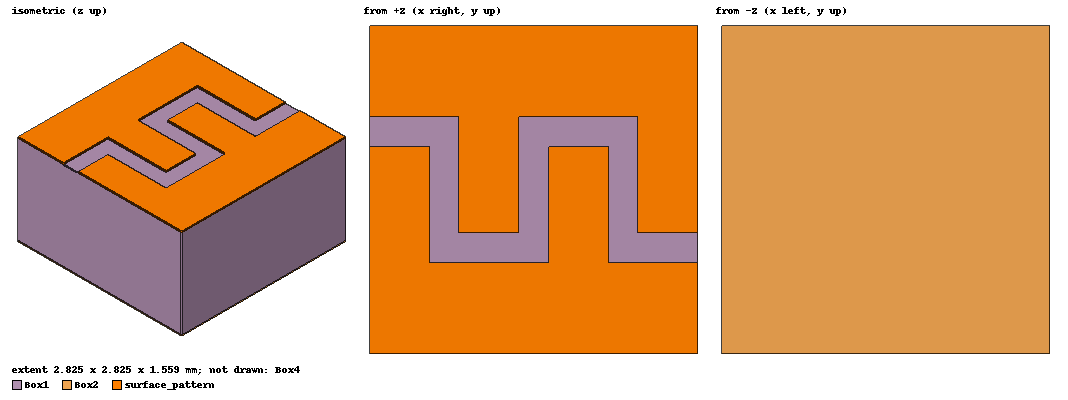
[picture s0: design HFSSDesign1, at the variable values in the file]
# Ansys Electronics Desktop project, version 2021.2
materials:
  vacuum: permittivity=1
  Arlon AD600 (tm): permittivity=6.15
  copper: permeability=0.999991 conductivity=58000000
  pec: conductivity=1e+30

design HFSSDesign1 (HFSS, DrivenModal, model units mm)
options: Allow_Material_Override
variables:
  length = 10mm
  depth = 1.524mm
  a = 28.25mm
  copp_t = 17.5um
  gap = 500um
  rad_bound = 20mm+depth+copp_t
  deembed = rad_bound-(depth+copp_t)
  mt = 10mil
  finger_depth = 1mm
  finger_width = 515.75um
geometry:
  Box1 [Arlon AD600 (tm)] = box(corner=(-a/20, -a/20, copp_t), size=(a/10, a/10, depth))
  Box2 [pec] = box(corner=(-a/20, -a/20, 0), size=(a/10, a/10, copp_t))
  top_sheet = box(corner=(-a/20, -a/20, copp_t+depth), size=(a/10, a/10, copp_t))
  Box3 = box(corner=(-a/20, -(finger_depth+mt)/2, depth+copp_t), size=(a/10, finger_depth+mt, copp_t))
  top_sheet.subtract(Box3)
  Box4 [vacuum] = box(corner=(-a/20, -a/20, 0mm), size=(a/10, a/10, rad_bound))
  Box5 = box(corner=(-a/20, -(finger_depth+mt)/2, depth+copp_t), size=(finger_width, finger_depth, copp_t))
  Box6 = box(corner=((-a/20+finger_width+mt), -(finger_depth-mt)/2, depth+copp_t), size=(finger_width, finger_depth, copp_t))
  Box5.unite(Box6)
  surface_pattern [pec] = Box5.duplicate_along_line(step=((finger_width+mt)*2, 0mm, 0mm), total=2)
  surface_pattern.unite(Box5)
  surface_pattern.unite(top_sheet)
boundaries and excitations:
  PMC: Perfect H Faces=Box4.face(+x, -x)
  PEC: Perfect E Faces=Box4.face(+y, -y)
  1: Wave Port Faces=Box4.face(+z) NumModes=1 Modes{Mode1{IntLine{middle of Box4.edge(4 of 12) -> middle of Box4.edge(2 of 12)} CharImp=Zwave}}
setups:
  Setup1: HfssDriven Frequency=10GHz MaxDeltaS=0.005 MaximumPasses=20 MinimumPasses=4 MinimumConvergedPasses=2 PercentRefinement=20 BasisOrder=-1 PortAccuracy=2
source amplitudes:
  1:1: 1W 0deg
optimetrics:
  ParametricSetup1: Parametric Sim._Setups=[Setup1]
    sweep finger_depth: LIN 0.05mm 2mm 0.05mm
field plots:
  Mag_E1, Vector_E1: E Field in Box4 on Setup1 : LastAdaptive at Freq=10GHz Phase=0deg
  Mag_E2: E Field over Box4.face(+x) on Setup1 : LastAdaptive at Freq=10GHz Phase=0deg
  Vector_H1: H Field in Box4 on Setup1 : LastAdaptive at Freq=10GHz Phase=0deg
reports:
  Z Parameter Plot 1: re(Z(1,1)), im(Z(1,1)) vs Freq on Setup1 : LastAdaptive; markers m1 at 10GHz, m2 at 10GHz
  S Parameter Plot 1: re(S(1,1)), im(S(1,1)) vs Freq on Setup1 : LastAdaptive; markers m1 at 10GHz
  S Parameter Plot 2: re(S(1,1)), im(S(1,1)) vs Freq on Setup1 : LastAdaptive; markers m1 at 10GHz, m2 at 10GHz

design HFSSDesign2 (HFSS, DrivenModal, model units mm)
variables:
  a = 28.25mm
  antenna_width = 2*finger_width*num_fingers + 2*mt*(num_fingers-1)+mt
  copp_t = 17.5um
  depth = 1.524mm
  mt = 10mil
  num_cells = 8
  finger_width = 515.75um
  num_fingers = 19
  finger_depth1 = 2mm
  finger_depth2 = 1.5mm
  finger_depth3 = 1mm
  finger_depth4 = 0.5mm
  finger_depth5 = 0.05mm
  finger_depth6 = 2mm
  finger_depth7 = 0.5mm
  finger_depth8 = 1mm
  finger_depth9 = 1.5mm
  finger_depth10 = 2mm
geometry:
  Ground [pec] = box(corner=(0mm, 0mm, 0mm), size=(antenna_width, num_cells*a, copp_t))
  Box2 [Arlon AD600 (tm)] = box(corner=(0mm, 0mm, copp_t), size=(antenna_width, num_cells*a, depth))
  Box3 = box(corner=(0mm, 0mm, copp_t+depth), size=(antenna_width, a/20-(mt+finger_depth1)/2, copp_t))
  Box4 = box(corner=(0mm, a/10, copp_t+depth), size=(antenna_width, -(a/20-(mt+finger_depth1)/2), copp_t))
  Unit1 [pec] = box(corner=(0mm, a/20-(mt+finger_depth1)/2, depth+copp_t), size=(finger_width, finger_depth1, copp_t))
  Box6 = box(corner=(finger_width+mt, a/20-(-mt+finger_depth1)/2, copp_t+depth), size=(finger_width, finger_depth1, copp_t))
  Unit1.unite(Box6)
  Unit1.duplicate_along_line(step=(2*(finger_width+mt), 0mm, 0mm), total=num_fingers, attached)
  Unit1.unite(Box4, Box3)
  Unit2 = box(corner=(0mm, a/20-(mt+finger_depth2)/2, depth+copp_t), size=(finger_width, finger_depth2, copp_t))
  Box9 = box(corner=(finger_width+mt, a/20-(-mt+finger_depth2)/2, copp_t+depth), size=(finger_width, finger_depth2, copp_t))
  Unit2.unite(Box9)
  Unit2.duplicate_along_line(step=(2*(finger_width+mt), 0mm, 0mm), total=num_fingers, attached)
  Box8 = box(corner=(0mm, a/10, copp_t+depth), size=(antenna_width, -(a/20-(mt+finger_depth2)/2), copp_t))
  Box7 = box(corner=(0mm, 0mm, copp_t+depth), size=(antenna_width, a/20-(mt+finger_depth2)/2, copp_t))
  Unit2.unite(Box8, Box7)
  Unit2.move(0mm, a/10, 0mm)
  Unit3 = box(corner=(0mm, a/20-(mt+finger_depth3)/2, depth+copp_t), size=(finger_width, finger_depth3, copp_t))
  Box12 = box(corner=(finger_width+mt, a/20-(-mt+finger_depth3)/2, copp_t+depth), size=(finger_width, finger_depth3, copp_t))
  Unit3.unite(Box12)
  Unit3.duplicate_along_line(step=(2*(finger_width+mt), 0mm, 0mm), total=num_fingers, attached)
  Box11 = box(corner=(0mm, a/10, copp_t+depth), size=(antenna_width, -(a/20-(mt+finger_depth3)/2), copp_t))
  Box10 = box(corner=(0mm, 0mm, copp_t+depth), size=(antenna_width, a/20-(mt+finger_depth3)/2, copp_t))
  Unit3.unite(Box11, Box10)
  Unit3.move(0mm, 2*a/10, 0mm)
  Unit4 = box(corner=(0mm, a/20-(mt+finger_depth4)/2, depth+copp_t), size=(finger_width, finger_depth4, copp_t))
  Box15 = box(corner=(finger_width+mt, a/20-(-mt+finger_depth4)/2, copp_t+depth), size=(finger_width, finger_depth4, copp_t))
  Unit4.unite(Box15)
  Unit4.duplicate_along_line(step=(2*(finger_width+mt), 0mm, 0mm), total=num_fingers, attached)
  Box14 = box(corner=(0mm, a/10, copp_t+depth), size=(antenna_width, -(a/20-(mt+finger_depth4)/2), copp_t))
  Box13 = box(corner=(0mm, 0mm, copp_t+depth), size=(antenna_width, a/20-(mt+finger_depth4)/2, copp_t))
  Unit4.unite(Box14, Box13)
  Unit4.move(0mm, 3*a/10, 0mm)
  Unit5 = box(corner=(0mm, a/20-(mt+finger_depth5)/2, depth+copp_t), size=(finger_width, finger_depth5, copp_t))
  Box18 = box(corner=(finger_width+mt, a/20-(-mt+finger_depth5)/2, copp_t+depth), size=(finger_width, finger_depth5, copp_t))
  Unit5.unite(Box18)
  Unit5.duplicate_along_line(step=(2*(finger_width+mt), 0mm, 0mm), total=num_fingers, attached)
  Box17 = box(corner=(0mm, a/10, copp_t+depth), size=(antenna_width, -(a/20-(mt+finger_depth5)/2), copp_t))
  Box16 = box(corner=(0mm, 0mm, copp_t+depth), size=(antenna_width, a/20-(mt+finger_depth5)/2, copp_t))
  Unit5.unite(Box17, Box16)
  Unit5.move(0mm, 4*a/10, 0mm)
  Unit6 = box(corner=(0mm, a/20-(mt+finger_depth6)/2, depth+copp_t), size=(finger_width, finger_depth6, copp_t))
  Box21 = box(corner=(finger_width+mt, a/20-(-mt+finger_depth6)/2, copp_t+depth), size=(finger_width, finger_depth6, copp_t))
  Unit6.unite(Box21)
  Unit6.duplicate_along_line(step=(2*(finger_width+mt), 0mm, 0mm), total=num_fingers, attached)
  Box20 = box(corner=(0mm, a/10, copp_t+depth), size=(antenna_width, -(a/20-(mt+finger_depth6)/2), copp_t))
  Box19 = box(corner=(0mm, 0mm, copp_t+depth), size=(antenna_width, a/20-(mt+finger_depth6)/2, copp_t))
  Unit6.unite(Box20, Box19)
  Unit6.move(0mm, 5*a/10, 0mm)
  Unit7 = box(corner=(0mm, a/20-(mt+finger_depth7)/2, depth+copp_t), size=(finger_width, finger_depth7, copp_t))
  Box24 = box(corner=(finger_width+mt, a/20-(-mt+finger_depth7)/2, copp_t+depth), size=(finger_width, finger_depth7, copp_t))
  Unit7.unite(Box24)
  Unit7.duplicate_along_line(step=(2*(finger_width+mt), 0mm, 0mm), total=num_fingers, attached)
  Box23 = box(corner=(0mm, a/10, copp_t+depth), size=(antenna_width, -(a/20-(mt+finger_depth7)/2), copp_t))
  Box22 = box(corner=(0mm, 0mm, copp_t+depth), size=(antenna_width, a/20-(mt+finger_depth7)/2, copp_t))
  Unit7.unite(Box23, Box22)
  Unit7.move(0mm, 6*a/10, 0mm)
  Unit8 = box(corner=(0mm, a/20-(mt+finger_depth8)/2, depth+copp_t), size=(finger_width, finger_depth8, copp_t))
  Box27 = box(corner=(finger_width+mt, a/20-(-mt+finger_depth8)/2, copp_t+depth), size=(finger_width, finger_depth8, copp_t))
  Unit8.unite(Box27)
  Unit8.duplicate_along_line(step=(2*(finger_width+mt), 0mm, 0mm), total=num_fingers, attached)
  Box26 = box(corner=(0mm, a/10, copp_t+depth), size=(antenna_width, -(a/20-(mt+finger_depth8)/2), copp_t))
  Box25 = box(corner=(0mm, 0mm, copp_t+depth), size=(antenna_width, a/20-(mt+finger_depth8)/2, copp_t))
  Unit8.unite(Box26, Box25)
  Unit8.move(0mm, 7*a/10, 0mm)
  Unit9 = box(corner=(0mm, a/20-(mt+finger_depth9)/2, depth+copp_t), size=(finger_width, finger_depth9, copp_t))
  Box30 = box(corner=(finger_width+mt, a/20-(-mt+finger_depth9)/2, copp_t+depth), size=(finger_width, finger_depth9, copp_t))
  Unit9.unite(Box30)
  Unit9.duplicate_along_line(step=(2*(finger_width+mt), 0mm, 0mm), total=num_fingers, attached)
  Box29 = box(corner=(0mm, a/10, copp_t+depth), size=(antenna_width, -(a/20-(mt+finger_depth9)/2), copp_t))
  Box28 = box(corner=(0mm, 0mm, copp_t+depth), size=(antenna_width, a/20-(mt+finger_depth9)/2, copp_t))
  Unit9.unite(Box29, Box28)
  Unit9.move(0mm, 8*a/10, 0mm)
  Unit10 = box(corner=(0mm, a/20-(mt+finger_depth10)/2, depth+copp_t), size=(finger_width, finger_depth10, copp_t))
  Box33 = box(corner=(finger_width+mt, a/20-(-mt+finger_depth10)/2, copp_t+depth), size=(finger_width, finger_depth10, copp_t))
  Unit10.unite(Box33)
  Unit10.duplicate_along_line(step=(2*(finger_width+mt), 0mm, 0mm), total=num_fingers, attached)
  Box32 = box(corner=(0mm, a/10, copp_t+depth), size=(antenna_width, -(a/20-(mt+finger_depth10)/2), copp_t))
  Box31 = box(corner=(0mm, 0mm, copp_t+depth), size=(antenna_width, a/20-(mt+finger_depth10)/2, copp_t))
  Unit10.unite(Box32, Box31)
  Unit10.move(0mm, 9*a/10, 0mm)
  Unit1.unite(Unit2..Unit10)
  Unit1_1..Unit1_7 = Unit1.duplicate_along_line(step=(0mm, a, 0mm), total=8)
  Unit1.unite(Unit1_1..Unit1_7)
